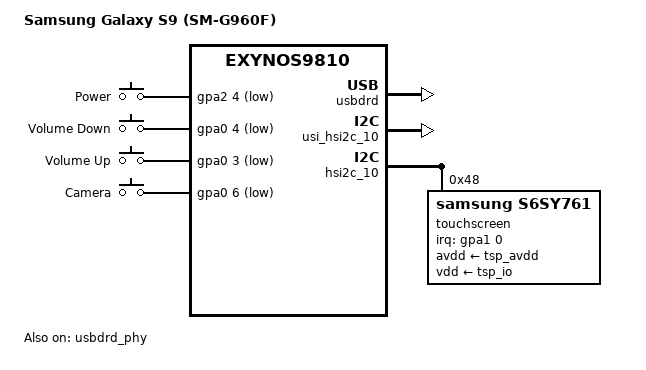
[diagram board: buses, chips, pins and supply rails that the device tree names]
// SPDX-License-Identifier: GPL-2.0 OR BSD-3-Clause
/*
 * Samsung Galaxy S9 (starlte/SM-G960F) device tree source
 *
 * Copyright (c) 2024 Markuss Broks <markuss.broks@gmail.com>
 * Copyright (c) 2024 Maksym Holovach <nergzd@nergzd723.xyz>
 */

/dts-v1/;
#include "exynos9810.dtsi"
#include <dt-bindings/gpio/gpio.h>
#include <dt-bindings/input/input.h>
#include <dt-bindings/interrupt-controller/irq.h>

/ {
	model = "Samsung Galaxy S9 (SM-G960F)";
	compatible = "samsung,starlte", "samsung,exynos9810";
	chassis-type = "handset";

	chosen {
		#address-cells = <2>;
		#size-cells = <1>;
		ranges;
		bootargs = "console=tty0 loglevel=8 maxcpus=1";

		framebuffer@cc000000 {
			compatible = "simple-framebuffer";
			reg = <0x0 0xcc000000 (1440 * 2960 * 4)>;
			width = <1440>;
			height = <2960>;
			stride = <(1440 * 4)>;
			format = "a8r8g8b8";
		};
	};

	gpio-keys {
		compatible = "gpio-keys";

		pinctrl-0 = <&key_power &key_voldown &key_volup &key_wink>;
		pinctrl-names = "default";

		power-key {
			label = "Power";
			linux,code = <KEY_POWER>;
			gpios = <&gpa2 4 GPIO_ACTIVE_LOW>;
			wakeup-source;
		};

		voldown-key {
			label = "Volume Down";
			linux,code = <KEY_VOLUMEDOWN>;
			gpios = <&gpa0 4 GPIO_ACTIVE_LOW>;
		};

		volup-key {
			label = "Volume Up";
			linux,code = <KEY_VOLUMEUP>;
			gpios = <&gpa0 3 GPIO_ACTIVE_LOW>;
		};

		/* In stock firmware used for assistant. Map it as a camera button for now */
		wink-key {
			label = "Camera";
			linux,code = <KEY_CAMERA>;
			gpios = <&gpa0 6 GPIO_ACTIVE_LOW>;
		};
	};

	memory@80000000 {
		device_type = "memory";
		reg = <0x0 0x80000000 0x3c800000>,
		      <0x0 0xc0000000 0x20000000>,
		      <0x0 0xe1900000 0x1e700000>,
		      <0x8 0x80000000 0x80000000>;
	};

	reserved-memory {
		#address-cells = <2>;
		#size-cells = <1>;
		ranges;

		framebuffer@cc000000 {
			reg = <0x0 0xcc000000 (1440 * 2960 * 4)>;
			no-map;
		};

		ramoops@fed10000 {
			compatible = "ramoops";
			reg = <0x0 0xfed10000 0x8000>;
			record-size = <0x4000>;
			console-size = <0x4000>;
		};
	};
};

&acpm_ipc {
	pmic {
		compatible = "samsung,s2mps18-pmic";

		regulators {
			tsp_io: ldo35 {
				regulator-name = "tsp_io";
				regulator-min-microvolt = <1800000>;
				regulator-max-microvolt = <1800000>;
				regulator-boot-on;
			};

			tsp_avdd: ldo43 {
				regulator-name = "tsp_avdd";
				regulator-min-microvolt = <3000000>;
				regulator-max-microvolt = <3000000>;
				regulator-boot-on;
			};
		};
	};
};

&oscclk {
	clock-frequency = <26000000>;
};

&usbdrd {
	status = "okay";
};

&usbdrd_phy {
	status = "okay";
};

&usi_hsi2c_10 {
	status = "okay";
};

&hsi2c_10 {
	status = "okay";
	samsung,stop-after-trans;

	touchscreen@48 {
		compatible = "samsung,s6sy761";
		reg = <0x48>;

		avdd-supply = <&tsp_avdd>;
		vdd-supply = <&tsp_io>;

		interrupt-parent = <&gpa1>;
		interrupts = <0 IRQ_TYPE_LEVEL_LOW>;

		pinctrl-0 = <&ts_int>;
		pinctrl-names = "default";

		touchscreen-size-x = <4096>;
		touchscreen-size-y = <4096>;
	};
};

&pinctrl_alive {
	ts_int: ts-int-pins {
		samsung,pins = "gpa1-0";
		samsung,pin-function = <EXYNOS_PIN_FUNC_EINT>;
		samsung,pin-pud = <EXYNOS_PIN_PULL_NONE>;
		samsung,pin-drv = <EXYNOS5420_PIN_DRV_LV1>;
	};

	key_power: key-power-pins {
		samsung,pins = "gpa2-4";
		samsung,pin-function = <EXYNOS_PIN_FUNC_EINT>;
		samsung,pin-pud = <EXYNOS_PIN_PULL_UP>;
		samsung,pin-drv = <EXYNOS5420_PIN_DRV_LV1>;
	};

	key_voldown: key-voldown-pins {
		samsung,pins = "gpa0-4";
		samsung,pin-function = <EXYNOS_PIN_FUNC_EINT>;
		samsung,pin-pud = <EXYNOS_PIN_PULL_UP>;
		samsung,pin-drv = <EXYNOS5420_PIN_DRV_LV1>;
	};

	key_volup: key-volup-pins {
		samsung,pins = "gpa0-3";
		samsung,pin-function = <EXYNOS_PIN_FUNC_EINT>;
		samsung,pin-pud = <EXYNOS_PIN_PULL_UP>;
		samsung,pin-drv = <EXYNOS5420_PIN_DRV_LV1>;
	};

	key_wink: key-wink-pins {
		samsung,pins = "gpa0-6";
		samsung,pin-function = <EXYNOS_PIN_FUNC_EINT>;
		samsung,pin-pud = <EXYNOS_PIN_PULL_UP>;
		samsung,pin-drv = <EXYNOS5420_PIN_DRV_LV1>;
	};
};

&pinctrl_peric0 {
	hsi2c10_bus: hsi2c10-bus-pins {
		samsung,pins = "gpp1-4", "gpp1-5";
		samsung,pin-function = <EXYNOS_PIN_FUNC_2>;
		samsung,pin-pud = <EXYNOS_PIN_PULL_NONE>;
		samsung,pin-drv = <EXYNOS5420_PIN_DRV_LV1>;
	};
};
